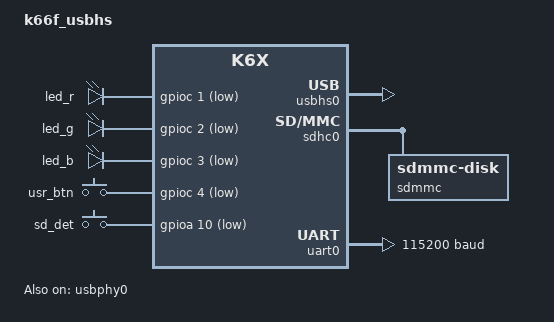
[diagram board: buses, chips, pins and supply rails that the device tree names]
/dts-v1/;

#include <zephyr/dt-bindings/input/input-event-codes.h>
#include <nxp/nxp_k66.dtsi>
#include "k66f_usbhs-pinctrl.dtsi"

/ {
    model = "k66f_usbhs";
    compatible = "nxp,mk66f18", "nxp,k66f", "nxp,k6x";

    chosen {
        zephyr,sram = &sram0;
        zephyr,flash = &flash0;
        zephyr,code-partition = &slot0_partition;
        zephyr,console = &uart0;
    };

    aliases {
        led0 = &led_r;
        led1 = &led_g;
        led2 = &led_b;
        sw0 = &usr_btn;
        mcuboot-led0 = &led_b;
        mcuboot-button0 = &usr_btn;
    };

    leds {
        compatible = "gpio-leds";
        led_r: led_r { gpios = <&gpioc 1 GPIO_ACTIVE_LOW>; };
        led_g: led_g { gpios = <&gpioc 2 GPIO_ACTIVE_LOW>; };
        led_b: led_b { gpios = <&gpioc 3 GPIO_ACTIVE_LOW>; };
    };

    buttons {
        compatible = "gpio-keys";
        usr_btn: usr_btn { gpios = <&gpioc 4  (GPIO_ACTIVE_LOW | GPIO_PULL_UP)>; zephyr,code = <INPUT_KEY_0>; };
        sd_det:  sd_det  { gpios = <&gpioa 10 (GPIO_ACTIVE_LOW | GPIO_PULL_UP)>; zephyr,code = <INPUT_KEY_1>; };
    };

    // additions to make USB HS work
    usbclk: usbpll-clock {
        compatible = "fixed-clock";
        clock-frequency = <480000000>;
        #clock-cells = <0>;
    };

    soc {
        usbhs0: usbd@400a1000 {
            compatible = "nxp,ehci";
            reg = <0x400a1000 0x200>;
            interrupts = <93 1>; // USBHS_IRQn
            interrupt-names = "usb_otg";
            clocks = <&usbclk>;
            num-bidir-endpoints = <8>;
            status = "disabled";
        };

        usbphy0: usbphy@400a2000 {
            compatible = "nxp,usbphy";
            reg = <0x400a2000 0x1000>;
            status = "disabled";
        };

        sdhc0: sdhc@400b1000 {
            compatible = "nxp,mcux-sdhc";
            reg = <0x400b1000 0x100>;
            interrupts = <81 0>; // SDHC_IRQn
            clocks = <&sim KINETIS_SIM_CORESYS_CLK 0x1030 17>; // kCLOCK_Sdhc0
            max-bus-freq = <25000000>; // 50MHz doesn't work on some cheap cards
            status = "disabled";
        };
    };
};

&sim {
    pllfll-select = <KINETIS_SIM_PLLFLLSEL_MCGPLLCLK>;
    er32k-select = <KINETIS_SIM_ER32KSEL_RTC>;
    core_clk    { clock-div = <1>; }; // max 180MHz
    bus_clk     { clock-div = <3>; }; // max 60MHz
    flexbus_clk { clock-div = <3>; }; // max 60MHz
    flash_clk   { clock-div = <7>; }; // max 28MHz
};

&flash0 {
    partitions {
        compatible = "fixed-partitions";
        #address-cells = <1>;
        #size-cells = <1>;
        boot_partition: partition@0 {
            label = "mcuboot";
            reg = <0x00000000 0x00010000>; // 64KiB
            read-only;
        };
        slot0_partition: partition@10000 {
            label = "image-0";
            reg = <0x00010000 0x001f0000>; // 1984KiB
        };
    };
};

&gpioa {
    status = "okay";
};

&gpioc {
    status = "okay";
};

&gpioe {
    status = "okay";
};

&uart0 {
    status = "okay";
    current-speed = <115200>;
    pinctrl-0 = <&uart0_default>;
    pinctrl-names = "default";
};

zephyr_udc0: &usbhs0 {
    status = "okay";
    phy_handle = <&usbphy0>;
};

&usbphy0 {
    status = "okay";
    tx-d-cal = <7>;
    tx-cal-45-dp-ohms = <6>;
    tx-cal-45-dm-ohms = <6>;
};

&sdhc0 {
    status = "okay";
    pinctrl-0 = <&sdhc0_default>;
    pinctrl-names = "default";
    power-delay-ms = <250>;
    sdmmc {
        compatible = "zephyr,sdmmc-disk";
        status = "okay";
    };
};
